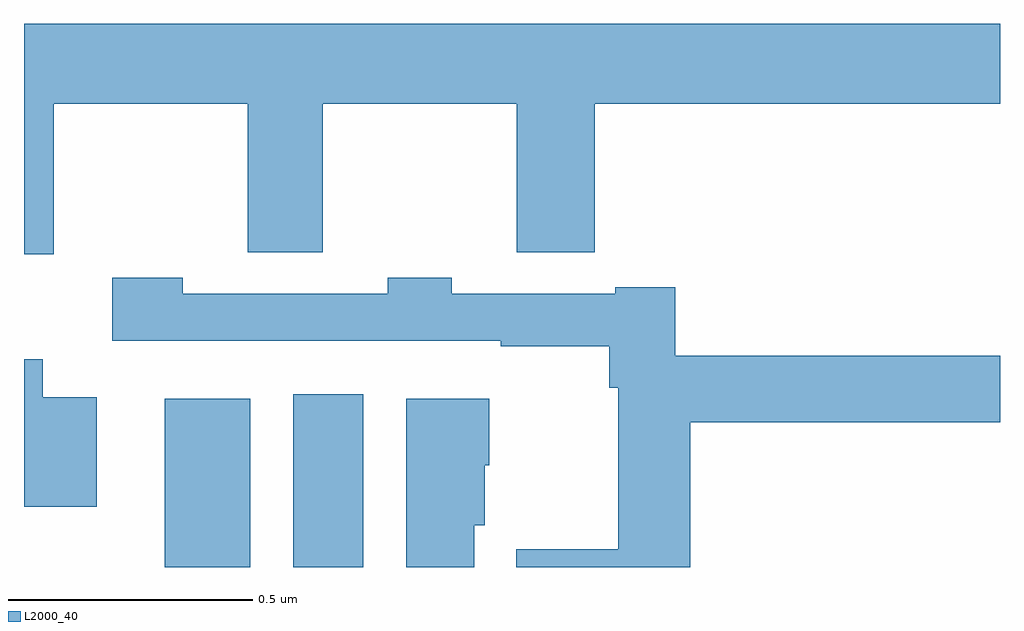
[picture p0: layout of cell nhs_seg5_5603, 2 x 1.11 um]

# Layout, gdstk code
import gdstk
lib = gdstk.Library(unit=1e-6, precision=1e-09)
def R(c, l, rs):  # rectangles x0, y0, x1, y1
    for r in rs: c.add(gdstk.rectangle(r[:2], r[2:], *l))
def P(c, l, *ps):  # polygons
    for p in ps: c.add(gdstk.Polygon(p, *l))
L2000_40 = (2000, 40)

nhs_seg5_5603 = lib.new_cell('nhs_seg5_5603')
R(nhs_seg5_5603, L2000_40, [(185.288,867.799,185.464,868.144), (185.552,867.799,185.695,868.153)])
P(nhs_seg5_5603, L2000_40, [(185.061,868.748),(185.458,868.748),(185.458,868.444),(185.612,868.444),(185.612,868.748),(186.01,868.748),(186.01,868.444),(186.17,868.444),(186.17,868.748),(187,868.748),(187,868.912),(185,868.912),(185,868.44),(185.061,868.44)],
  [(186.365,868.096),(187,868.096),(187,868.232),(186.335,868.232),(186.335,868.372),(186.212,868.372),(186.212,868.359),(185.877,868.359),(185.877,868.392),(185.745,868.392),(185.745,868.359),(185.325,868.359),(185.325,868.392),(185.181,868.392),(185.181,868.263),(185.977,868.263),(185.977,868.251),(186.199,868.251),(186.199,868.166),(186.218,868.166),(186.218,867.836),(186.009,867.836),(186.009,867.799),(186.365,867.799)],
  [(185.149,868.147),(185.038,868.147),(185.038,868.225),(185,868.225),(185,867.923),(185.149,867.923)],
  [(185.923,867.885),(185.944,867.885),(185.944,868.008),(185.953,868.008),(185.953,868.144),(185.783,868.144),(185.783,867.799),(185.923,867.799)])

lib.write_gds('nhs_seg5_5603.gds')
